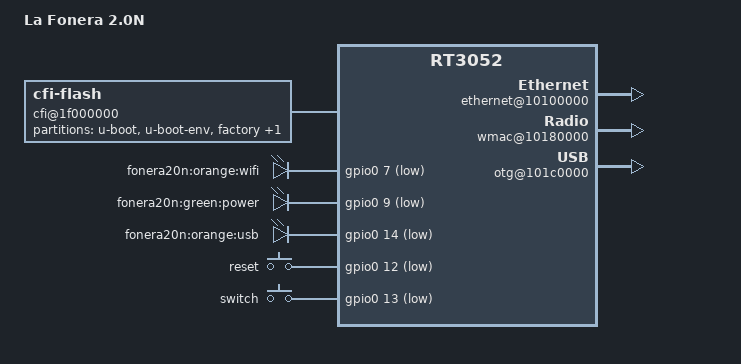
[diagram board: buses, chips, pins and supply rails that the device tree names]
/dts-v1/;

/include/ "rt3050.dtsi"

/ {
	compatible = "FONERA20N", "ralink,rt3052-soc";
	model = "La Fonera 2.0N";

	palmbus@10000000 {
		sysc@0 {
			ralink,pinmux = "i2c", "spi", "uartlite", "jtag", "mdio", "sdram", "rgmii";
			ralink,uartmux = "gpio";
			ralink,wdtmux = <1>;
		};

		gpio0: gpio@600 {
			status = "okay";
		};

	};

	cfi@1f000000 {
		compatible = "cfi-flash";
		reg = <0x1f000000 0x800000>;

		bank-width = <2>;
		device-width = <2>;
		#address-cells = <1>;
		#size-cells = <1>;

		partition@0 {
			label = "u-boot";
			reg = <0x0 0x30000>;
			read-only;
		};

		partition@30000 {
			label = "u-boot-env";
			reg = <0x30000 0x10000>;
			read-only;
		};

		factory: partition@40000 {
			label = "factory";
			reg = <0x40000 0x10000>;
			read-only;
		};

		partition@50000 {
			label = "firmware";
			reg = <0x50000 0x7b0000>;
		};
	};

	gpio-leds {
		compatible = "gpio-leds";
		wifi {
			label = "fonera20n:orange:wifi";
			gpios = <&gpio0 7 1>;
		};
		power {
			label = "fonera20n:green:power";
			gpios = <&gpio0 9 1>;
		};
		usb {
			label = "fonera20n:orange:usb";
			gpios = <&gpio0 14 1>;
		};
	};

	gpio-keys-polled {
		compatible = "gpio-keys-polled";
		#address-cells = <1>;
		#size-cells = <0>;
		poll-interval = <20>;
		reset {
			label = "reset";
			gpios = <&gpio0 12 1>;
			linux,code = <0x198>;
		};
		switch {
			label = "switch";
			gpios = <&gpio0 13 1>;
			linux,code = <0x101>;
		};
	};

	ethernet@10100000 {
		status = "okay";
	};

	esw@10110000 {
		status = "okay";
		ralink,portmap = <0x2f>;

		port@0 {
			compatible = "swconfig,port";
			swconfig,segment = "lan";
			swconfig,portmap = <0 4>;
		};
		port@1 {
			compatible = "swconfig,port";
			swconfig,segment = "lan";
			swconfig,portmap = <1 3>;
		};
		port@2 {
			compatible = "swconfig,port";
			swconfig,segment = "lan";
			swconfig,portmap = <2 2>;
		};
		port@3 {
			compatible = "swconfig,port";
			swconfig,segment = "lan";
			swconfig,portmap = <3 1>;
		};
		port@4 {
			compatible = "swconfig,port";
			swconfig,segment = "wan";
			swconfig,portmap = <4 0>;
		};
	};

	wmac@10180000 {
		status = "okay";
	};

	otg@101c0000 {
		status = "okay";
	};
};
